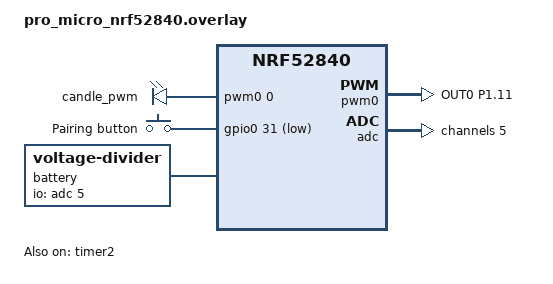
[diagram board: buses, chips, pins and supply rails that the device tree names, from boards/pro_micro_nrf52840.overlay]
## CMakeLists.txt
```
# 2026-04-21 - LED candle Zigbee project by Claude
cmake_minimum_required(VERSION 3.20.0)
find_package(Zephyr REQUIRED HINTS $ENV{ZEPHYR_BASE})
project(led_candle)

target_sources(app PRIVATE src/main.c)
target_include_directories(app PRIVATE include)
```

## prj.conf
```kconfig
# 2026-04-22 - LED candle Zigbee SED config by Claude (updated flash offset for Adafruit UF2 bootloader)
# 2026-04-22 - Disabled deep sleep (PM) to preserve UF2 bootloader double-tap detection (Claude)
CONFIG_NCS_SAMPLES_DEFAULTS=y

CONFIG_SERIAL=y
CONFIG_UART_INTERRUPT_DRIVEN=y
CONFIG_GPIO=y
CONFIG_PWM=y
CONFIG_ADC=y

CONFIG_CONSOLE=y
CONFIG_UART_CONSOLE=y
CONFIG_LOG=y
CONFIG_LOG_DEFAULT_LEVEL=3

CONFIG_HEAP_MEM_POOL_SIZE=2048
CONFIG_MAIN_THREAD_PRIORITY=7

# Zigbee as Sleepy End Device (not router - saves power)
CONFIG_ZIGBEE=y
CONFIG_ZIGBEE_APP_UTILS=y
CONFIG_ZIGBEE_ROLE_END_DEVICE=y
CONFIG_ZIGBEE_CHANNEL=25

CONFIG_SYSTEM_WORKQUEUE_STACK_SIZE=2048

CONFIG_CRYPTO=y
CONFIG_CRYPTO_NRF_ECB=y
CONFIG_CRYPTO_INIT_PRIORITY=80

CONFIG_NET_IPV6=n
CONFIG_NET_IP_ADDR_CHECK=n
CONFIG_NET_UDP=n

CONFIG_ZIGBEE_SCENES=y

# Random number generator for flicker
CONFIG_ENTROPY_GENERATOR=y

# Flash directly at 0x0 (no bootloader - ST-Link programming)
CONFIG_FLASH_LOAD_OFFSET=0x0
CONFIG_FLASH_LOAD_SIZE=0x100000
```

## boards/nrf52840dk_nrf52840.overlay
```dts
/* 2026-04-21 - Custom pin mapping for LED candle by Claude
 * Candle LED: P1.13 (GPIO 1.13) via PWM0 ch0
 * Pairing button: P0.31 (GPIO 0.31), active low with pull-up
 */

/ {
	pwmleds {
		compatible = "pwm-leds";
		candle_pwm: candle_pwm {
			pwms = <&pwm0 0 PWM_USEC(10000) PWM_POLARITY_NORMAL>;
		};
	};

	buttons {
		compatible = "gpio-keys";
		pairing_button: pairing_button {
			gpios = <&gpio0 31 (GPIO_PULL_UP | GPIO_ACTIVE_LOW)>;
			label = "Pairing button";
		};
	};

	chosen {
		ncs,zigbee-timer = &timer2;
	};
};

&pwm0 {
	status = "okay";
	pinctrl-0 = <&pwm0_candle_default>;
	pinctrl-1 = <&pwm0_candle_sleep>;
	pinctrl-names = "default", "sleep";
};

&pinctrl {
	pwm0_candle_default: pwm0_candle_default {
		group1 {
			psels = <NRF_PSEL(PWM_OUT0, 1, 13)>;
		};
	};
	pwm0_candle_sleep: pwm0_candle_sleep {
		group1 {
			psels = <NRF_PSEL(PWM_OUT0, 1, 13)>;
			low-power-enable;
		};
	};
};

&timer2 {
	status = "okay";
};
```

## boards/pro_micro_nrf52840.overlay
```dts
/* 2026-04-22 - Custom pin mapping for LED candle by Claude
 * 2026-04-26 - Added battery ADC on P0.29 (AIN5) with 2M+1M divider (Claude)
 * Candle LED: P1.11 (GPIO 1.11) via PWM0 ch0 - confirmed working
 * Pairing button: P0.31 (GPIO 0.31), active low with pull-up
 */

#include <zephyr/dt-bindings/adc/nrf-adc.h>

/ {
	pwmleds {
		compatible = "pwm-leds";
		candle_pwm: candle_pwm {
			pwms = <&pwm0 0 PWM_USEC(10000) PWM_POLARITY_INVERTED>;
		};
	};

	buttons {
		compatible = "gpio-keys";
		pairing_button: pairing_button {
			gpios = <&gpio0 31 (GPIO_PULL_UP | GPIO_ACTIVE_LOW)>;
			label = "Pairing button";
		};
	};

	chosen {
		ncs,zigbee-timer = &timer2;
	};

	/* Battery voltage divider: 2M upper + 1M lower, P0.29 (AIN5) */
	battery: battery {
		compatible = "voltage-divider";
		io-channels = <&adc 5>;
		output-ohms = <1000000>;
		full-ohms = <3000000>;
	};
};

&pwm0 {
	status = "okay";
	pinctrl-0 = <&pwm0_candle_default>;
	pinctrl-1 = <&pwm0_candle_sleep>;
	pinctrl-names = "default", "sleep";
};

&pinctrl {
	pwm0_candle_default: pwm0_candle_default {
		group1 {
			psels = <NRF_PSEL(PWM_OUT0, 1, 11)>;
		};
	};
	pwm0_candle_sleep: pwm0_candle_sleep {
		group1 {
			psels = <NRF_PSEL(PWM_OUT0, 1, 11)>;
			low-power-enable;
		};
	};
};

&timer2 {
	status = "okay";
};

/* Battery voltage on P0.29 (AIN5), 2M+1M resistor divider */
&adc {
	status = "okay";
	#address-cells = <1>;
	#size-cells = <0>;

	channel@5 {
		reg = <5>;
		zephyr,gain = "ADC_GAIN_1_6";
		zephyr,reference = "ADC_REF_INTERNAL";
		zephyr,acquisition-time = <ADC_ACQ_TIME_DEFAULT>;
		zephyr,input-positive = <NRF_SAADC_AIN5>;
		zephyr,resolution = <12>;
	};
};
```

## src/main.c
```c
/* 2026-04-22 - Zigbee LED candle, Sleepy End Device by Claude
 * 2026-04-22 - Button now triggers network steering when not joined (Claude)
 * 2026-04-26 - Added battery measurement via SAADC on P0.29 (AIN5), Power Config cluster (Claude)
 * GPIO 1.11: candle LED (PWM0 ch0)
 * GPIO 0.31: pairing/identify button (active low)
 * GPIO 0.29: battery voltage via resistor divider (2M+1M, AIN5)
 * Short press: enter identify/pairing mode
 * Hold 5s: factory reset
 * LED blinks 2Hz until joined to Zigbee network, then switches to flicker.
 * Reports as ZHA dimmable light with battery level - auto-discovered by Home Assistant
 */

#include <zephyr/types.h>
#include <zephyr/kernel.h>
#include <zephyr/device.h>
#include <zephyr/drivers/pwm.h>
#include <zephyr/drivers/gpio.h>
#include <zephyr/drivers/adc.h>
#include <zephyr/logging/log.h>
#include <zephyr/settings/settings.h>
#include <zephyr/random/random.h>

#include <zboss_api.h>
#include <zboss_api_addons.h>
#include <zb_mem_config_med.h>
#include <zigbee/zigbee_app_utils.h>
#include <zigbee/zigbee_error_handler.h>
#include <zigbee/zigbee_zcl_scenes.h>
#include <zb_nrf_platform.h>
#include "zb_candle.h"

LOG_MODULE_REGISTER(app, LOG_LEVEL_INF);

#define CANDLE_ENDPOINT         10
#define BATTERY_MEASURE_MS      300000  /* measure every 5 minutes */
#define BATTERY_MV_FULL         4200    /* LiPo full charge */
#define BATTERY_MV_EMPTY        3000    /* LiPo cutoff */

#define PWM_PERIOD_US           10000U  /* 100 Hz */
#define FLICKER_INTERVAL_MS     50      /* flicker update rate */
#define FACTORY_RESET_MS        5000    /* hold button this long to reset */

#define MANUF_NAME      "DIY"
#define MODEL_ID        "LED_Candle_v1"
#define DATE_CODE       "20260421"
#define LOCATION_DESC   "Home"

#define BULB_INIT_BASIC_APP_VERSION     01
#define BULB_INIT_BASIC_STACK_VERSION   10
#define BULB_INIT_BASIC_HW_VERSION      11
#define BULB_INIT_BASIC_POWER_SOURCE    ZB_ZCL_BASIC_POWER_SOURCE_BATTERY
#define BULB_INIT_BASIC_PH_ENV          ZB_ZCL_BASIC_ENV_UNSPECIFIED

/* Hardware bindings from devicetree */
static const struct pwm_dt_spec led_pwm = PWM_DT_SPEC_GET(DT_NODELABEL(candle_pwm));
static const struct gpio_dt_spec btn = GPIO_DT_SPEC_GET(DT_NODELABEL(pairing_button), gpios);

/* Candle state - written from Zigbee callbacks, read from flicker timer */
static volatile uint8_t candle_base_level = 255;
static volatile bool candle_on = false;
static volatile bool zigbee_joined = false;

/* Flicker state - only accessed in system workqueue */
static uint8_t flicker_current;
static uint8_t flicker_target;

/* Button state */
static int64_t btn_press_uptime_ms;
static struct gpio_callback btn_cb_data;

/* ---------- Zigbee attribute storage ---------- */

typedef struct {
	zb_zcl_basic_attrs_ext_t      basic_attr;
	zb_zcl_identify_attrs_t       identify_attr;
	zb_zcl_scenes_attrs_t         scenes_attr;
	zb_zcl_groups_attrs_t         groups_attr;
	zb_zcl_on_off_attrs_t         on_off_attr;
	zb_zcl_level_control_attrs_t  level_control_attr;
} bulb_device_ctx_t;

/* Battery attributes - plain variables, updated by ADC measurement */
static zb_uint8_t bat_voltage_100mv;   /* voltage in 100mV units */
static zb_uint8_t bat_percentage;      /* 0-200 where 200=100% */

/* ADC for battery voltage on P0.29 (AIN5), resistor divider 2M+1M */
static const struct adc_dt_spec adc_bat = ADC_DT_SPEC_GET(DT_NODELABEL(battery));
static int16_t adc_buf;
static struct adc_sequence adc_seq = {
	.buffer      = &adc_buf,
	.buffer_size = sizeof(adc_buf),
};

static bulb_device_ctx_t dev_ctx;

ZB_ZCL_DECLARE_IDENTIFY_ATTRIB_LIST(identify_attr_list,
	&dev_ctx.identify_attr.identify_time);

ZB_ZCL_DECLARE_GROUPS_ATTRIB_LIST(groups_attr_list,
	&dev_ctx.groups_attr.name_support);

ZB_ZCL_DECLARE_SCENES_ATTRIB_LIST(scenes_attr_list,
	&dev_ctx.scenes_attr.scene_count,
	&dev_ctx.scenes_attr.current_scene,
	&dev_ctx.scenes_attr.current_group,
	&dev_ctx.scenes_attr.scene_valid,
	&dev_ctx.scenes_attr.name_support);

ZB_ZCL_DECLARE_BASIC_ATTRIB_LIST_EXT(basic_attr_list,
	&dev_ctx.basic_attr.zcl_version,
	&dev_ctx.basic_attr.app_version,
	&dev_ctx.basic_attr.stack_version,
	&dev_ctx.basic_attr.hw_version,
	dev_ctx.basic_attr.mf_name,
	dev_ctx.basic_attr.model_id,
	dev_ctx.basic_attr.date_code,
	&dev_ctx.basic_attr.power_source,
	dev_ctx.basic_attr.location_id,
	&dev_ctx.basic_attr.ph_env,
	dev_ctx.basic_attr.sw_ver);

ZB_ZCL_DECLARE_ON_OFF_ATTRIB_LIST(on_off_attr_list,
	&dev_ctx.on_off_attr.on_off);

ZB_ZCL_DECLARE_LEVEL_CONTROL_ATTRIB_LIST(level_control_attr_list,
	&dev_ctx.level_control_attr.current_level,
	&dev_ctx.level_control_attr.remaining_time);

ZB_ZCL_START_DECLARE_ATTRIB_LIST_CLUSTER_REVISION(power_config_attr_list,
						  ZB_ZCL_POWER_CONFIG)
ZB_SET_ATTR_DESCR_WITH_ZB_ZCL_ATTR_POWER_CONFIG_BATTERY_VOLTAGE_ID(
	&bat_voltage_100mv, ),
ZB_SET_ATTR_DESCR_WITH_ZB_ZCL_ATTR_POWER_CONFIG_BATTERY_PERCENTAGE_REMAINING_ID(
	&bat_percentage, ),
ZB_ZCL_FINISH_DECLARE_ATTRIB_LIST;

ZB_DECLARE_CANDLE_CLUSTER_LIST(candle_clusters,
	basic_attr_list, identify_attr_list, groups_attr_list,
	scenes_attr_list, on_off_attr_list, level_control_attr_list,
	power_config_attr_list);

ZB_DECLARE_CANDLE_EP(candle_ep, CANDLE_ENDPOINT, candle_clusters);

ZBOSS_DECLARE_DEVICE_CTX_1_EP(dimmable_light_ctx, candle_ep);

/* ---------- PWM / flicker ---------- */

static void set_pwm_level(uint8_t level)
{
	uint32_t pulse = (uint32_t)level * PWM_PERIOD_US / 255U;

	pwm_set_dt(&led_pwm, PWM_USEC(PWM_PERIOD_US), PWM_USEC(pulse));
}

static void flicker_work_handler(struct k_work *work)
{
	ARG_UNUSED(work);

	if (!candle_on) {
		set_pwm_level(0);
		return;
	}

	uint8_t base = candle_base_level;
	uint32_t rnd = sys_rand32_get();

	/* New target on every tick with 70% probability, or when reached */
	if (flicker_current == flicker_target || (rnd & 0xF) < 11) {
		/* Occasional deep dip (10% chance) simulates gust */
		if ((sys_rand32_get() & 0x1F) == 0) {
			flicker_target = (uint8_t)CLAMP((int32_t)base * 2 / 10,
							8, base);
		} else {
			/* Normal flicker: ±45% of base */
			int32_t offset = (int32_t)(sys_rand32_get() & 0xFF) - 128;
			offset = offset * 9 / 10 * base / 255;
			flicker_target = (uint8_t)CLAMP((int32_t)base + offset,
							base * 3 / 10, base);
		}
	}

	/* Fast drop, slower rise — like a real flame */
	if (flicker_current > flicker_target) {
		flicker_current -= MAX(2, (flicker_current - flicker_target) >> 1);
	} else if (flicker_current < flicker_target) {
		flicker_current += MAX(1, (flicker_target - flicker_current) >> 2);
	}

	set_pwm_level(flicker_current);
}

static K_WORK_DEFINE(flicker_work, flicker_work_handler);

static void flicker_timer_cb(struct k_timer *timer)
{
	ARG_UNUSED(timer);
	k_work_submit(&flicker_work);
}

static K_TIMER_DEFINE(flicker_timer, flicker_timer_cb, NULL);

/* ---------- Pairing blink (runs until Zigbee joins) ---------- */

static void pairing_blink_cb(struct k_timer *timer)
{
	ARG_UNUSED(timer);
	static bool state;

	state = !state;
	set_pwm_level(state ? 255U : 0U);
}

static K_TIMER_DEFINE(pairing_blink_timer, pairing_blink_cb, NULL);

/* ---------- Battery measurement ---------- */

static void battery_measure(void)
{
	adc_sequence_init_dt(&adc_bat, &adc_seq);
	if (adc_read(adc_bat.dev, &adc_seq) != 0) {
		return;
	}

	int32_t mv = adc_buf;

	adc_raw_to_millivolts_dt(&adc_bat, &mv);

	/* Undo divider: V_bat = V_adc * (2M+1M)/1M = V_adc * 3 */
	int32_t bat_mv = mv * 3;

	bat_voltage_100mv = (zb_uint8_t)CLAMP(bat_mv / 100, 0, 255);

	int32_t pct = (bat_mv - BATTERY_MV_EMPTY) * 200 /
		      (BATTERY_MV_FULL - BATTERY_MV_EMPTY);

	bat_percentage = (zb_uint8_t)CLAMP(pct, 0, 200);

	ZB_ZCL_SET_ATTRIBUTE(CANDLE_ENDPOINT,
		ZB_ZCL_CLUSTER_ID_POWER_CONFIG,
		ZB_ZCL_CLUSTER_SERVER_ROLE,
		ZB_ZCL_ATTR_POWER_CONFIG_BATTERY_VOLTAGE_ID,
		&bat_voltage_100mv, ZB_FALSE);

	ZB_ZCL_SET_ATTRIBUTE(CANDLE_ENDPOINT,
		ZB_ZCL_CLUSTER_ID_POWER_CONFIG,
		ZB_ZCL_CLUSTER_SERVER_ROLE,
		ZB_ZCL_ATTR_POWER_CONFIG_BATTERY_PERCENTAGE_REMAINING_ID,
		&bat_percentage, ZB_FALSE);

	LOG_INF("battery: %d mV -> %d%%", bat_mv, bat_percentage / 2);
}

static struct k_work battery_work;

static void battery_work_handler(struct k_work *work)
{
	ARG_UNUSED(work);
	battery_measure();
}

static void battery_timer_cb(struct k_timer *timer)
{
	ARG_UNUSED(timer);
	k_work_submit(&battery_work);
}

static K_TIMER_DEFINE(battery_timer, battery_timer_cb, NULL);

static void on_joined(void)
{
	if (zigbee_joined) {
		return;
	}
	zigbee_joined = true;
	k_timer_stop(&pairing_blink_timer);

	/* Restore candle state and start flicker */
	candle_on = (bool)dev_ctx.on_off_attr.on_off;
	candle_base_level = dev_ctx.level_control_attr.current_level;
	flicker_current = candle_base_level;
	flicker_target  = candle_base_level;
	k_timer_start(&flicker_timer, K_MSEC(FLICKER_INTERVAL_MS),
		      K_MSEC(FLICKER_INTERVAL_MS));
	zb_ieee_addr_t ieee;
	zb_get_long_address(ieee);
	LOG_INF("joined network, NWK: 0x%04x IEEE: %02x:%02x:%02x:%02x:%02x:%02x:%02x:%02x",
		zb_get_short_address(),
		ieee[7], ieee[6], ieee[5], ieee[4],
		ieee[3], ieee[2], ieee[1], ieee[0]);
	LOG_INF("joined network, flicker started");
}

/* ---------- Zigbee level/on-off control ---------- */

static void light_set_brightness(zb_uint8_t level)
{
	candle_base_level = level;
	/* Flicker timer applies it on next tick */
}

static void level_control_set_value(zb_uint16_t new_level)
{
	LOG_INF("level -> %d", new_level);
	ZB_ZCL_SET_ATTRIBUTE(CANDLE_ENDPOINT,
		ZB_ZCL_CLUSTER_ID_LEVEL_CONTROL,
		ZB_ZCL_CLUSTER_SERVER_ROLE,
		ZB_ZCL_ATTR_LEVEL_CONTROL_CURRENT_LEVEL_ID,
		(zb_uint8_t *)&new_level, ZB_FALSE);
	light_set_brightness((zb_uint8_t)new_level);
}

static void on_off_set_value(zb_bool_t on)
{
	LOG_INF("on/off -> %d", on);
	ZB_ZCL_SET_ATTRIBUTE(CANDLE_ENDPOINT,
		ZB_ZCL_CLUSTER_ID_ON_OFF,
		ZB_ZCL_CLUSTER_SERVER_ROLE,
		ZB_ZCL_ATTR_ON_OFF_ON_OFF_ID,
		(zb_uint8_t *)&on, ZB_FALSE);

	candle_on = (bool)on;
	if (!on) {
		set_pwm_level(0);
	} else {
		light_set_brightness(dev_ctx.level_control_attr.current_level);
	}
}

/* ---------- Zigbee identify ---------- */

static void toggle_identify_led(zb_bufid_t bufid)
{
	static bool blink;

	blink = !blink;
	set_pwm_level(blink ? 255U : 0U);
	ZB_SCHEDULE_APP_ALARM(toggle_identify_led, bufid,
		ZB_MILLISECONDS_TO_BEACON_INTERVAL(200));
}

static void identify_cb(zb_bufid_t bufid)
{
	if (bufid) {
		ZB_SCHEDULE_APP_CALLBACK(toggle_identify_led, bufid);
	} else {
		zb_ret_t err = ZB_SCHEDULE_APP_ALARM_CANCEL(
			toggle_identify_led, ZB_ALARM_ANY_PARAM);
		ZVUNUSED(err);
		on_off_set_value((zb_bool_t)dev_ctx.on_off_attr.on_off);
	}
}

static void start_identifying(zb_bufid_t bufid)
{
	ZVUNUSED(bufid);
	if (!ZB_JOINED()) {
		LOG_WRN("not joined - cannot identify");
		return;
	}
	ZB_ERROR_CHECK(zb_bdb_finding_binding_target(CANDLE_ENDPOINT));
	LOG_INF("identify mode started");
}

/* ---------- Button ---------- */

static void btn_isr(const struct device *port, struct gpio_callback *cb,
		    gpio_port_pins_t pins)
{
	ARG_UNUSED(port);
	ARG_UNUSED(cb);
	ARG_UNUSED(pins);

	bool pressed = gpio_pin_get_dt(&btn);

	if (pressed) {
		btn_press_uptime_ms = k_uptime_get();
	} else {
		int64_t held_ms = k_uptime_get() - btn_press_uptime_ms;

		if (held_ms >= FACTORY_RESET_MS) {
			ZB_SCHEDULE_APP_CALLBACK(zb_bdb_reset_via_local_action, 0);
			LOG_INF("factory reset triggered");
		} else if (held_ms >= 50) {
			if (!ZB_JOINED()) {
				/* Clear credentials and reboot into fresh pairing */
				ZB_SCHEDULE_APP_CALLBACK(zb_bdb_reset_via_local_action, 0);
				LOG_INF("credentials cleared, repairing");
			} else {
				ZB_SCHEDULE_APP_CALLBACK(start_identifying, 0);
			}
		}
	}
}

/* ---------- ZCL callback ---------- */

static void zcl_device_cb(zb_bufid_t bufid)
{
	zb_zcl_device_callback_param_t *p =
		ZB_BUF_GET_PARAM(bufid, zb_zcl_device_callback_param_t);

	p->status = RET_OK;

	switch (p->device_cb_id) {
	case ZB_ZCL_LEVEL_CONTROL_SET_VALUE_CB_ID:
		level_control_set_value(
			p->cb_param.level_control_set_value_param.new_value);
		break;

	case ZB_ZCL_SET_ATTR_VALUE_CB_ID: {
		uint8_t cluster = p->cb_param.set_attr_value_param.cluster_id;
		uint8_t attr    = p->cb_param.set_attr_value_param.attr_id;

		if (cluster == ZB_ZCL_CLUSTER_ID_ON_OFF &&
		    attr == ZB_ZCL_ATTR_ON_OFF_ON_OFF_ID) {
			on_off_set_value((zb_bool_t)
				p->cb_param.set_attr_value_param.values.data8);
		} else if (cluster == ZB_ZCL_CLUSTER_ID_LEVEL_CONTROL &&
			   attr == ZB_ZCL_ATTR_LEVEL_CONTROL_CURRENT_LEVEL_ID) {
			level_control_set_value(
				p->cb_param.set_attr_value_param.values.data16);
		} else {
			p->status = RET_NOT_IMPLEMENTED;
		}
		break;
	}

	default:
		if (zcl_scenes_cb(bufid) == ZB_FALSE) {
			p->status = RET_NOT_IMPLEMENTED;
		}
		break;
	}
}

/* ---------- Zigbee signal handler ---------- */

void zboss_signal_handler(zb_bufid_t bufid)
{
	zb_zdo_app_signal_hdr_t *hdr = NULL;
	zb_zdo_app_signal_type_t sig = zb_get_app_signal(bufid, &hdr);
	zb_ret_t status = ZB_GET_APP_SIGNAL_STATUS(bufid);

	switch (sig) {
	case ZB_BDB_SIGNAL_DEVICE_REBOOT:
	case ZB_BDB_SIGNAL_STEERING:
		if (status == RET_OK) {
			on_joined();
		}
		break;
	default:
		break;
	}

	ZB_ERROR_CHECK(zigbee_default_signal_handler(bufid));
	if (bufid) {
		zb_buf_free(bufid);
	}
}

/* ---------- Attribute init ---------- */

static void clusters_attr_init(void)
{
	dev_ctx.basic_attr.zcl_version   = ZB_ZCL_VERSION;
	dev_ctx.basic_attr.app_version   = BULB_INIT_BASIC_APP_VERSION;
	dev_ctx.basic_attr.stack_version = BULB_INIT_BASIC_STACK_VERSION;
	dev_ctx.basic_attr.hw_version    = BULB_INIT_BASIC_HW_VERSION;
	dev_ctx.basic_attr.power_source  = BULB_INIT_BASIC_POWER_SOURCE;
	dev_ctx.basic_attr.ph_env        = BULB_INIT_BASIC_PH_ENV;

	ZB_ZCL_SET_STRING_VAL(dev_ctx.basic_attr.mf_name,
		MANUF_NAME, ZB_ZCL_STRING_CONST_SIZE(MANUF_NAME));
	ZB_ZCL_SET_STRING_VAL(dev_ctx.basic_attr.model_id,
		MODEL_ID, ZB_ZCL_STRING_CONST_SIZE(MODEL_ID));
	ZB_ZCL_SET_STRING_VAL(dev_ctx.basic_attr.date_code,
		DATE_CODE, ZB_ZCL_STRING_CONST_SIZE(DATE_CODE));
	ZB_ZCL_SET_STRING_VAL(dev_ctx.basic_attr.location_id,
		LOCATION_DESC, ZB_ZCL_STRING_CONST_SIZE(LOCATION_DESC));

	dev_ctx.identify_attr.identify_time =
		ZB_ZCL_IDENTIFY_IDENTIFY_TIME_DEFAULT_VALUE;

	dev_ctx.on_off_attr.on_off = (zb_bool_t)ZB_ZCL_ON_OFF_IS_ON;
	dev_ctx.level_control_attr.current_level =
		ZB_ZCL_LEVEL_CONTROL_LEVEL_MAX_VALUE;
	dev_ctx.level_control_attr.remaining_time =
		ZB_ZCL_LEVEL_CONTROL_REMAINING_TIME_DEFAULT_VALUE;

	ZB_ZCL_SET_ATTRIBUTE(CANDLE_ENDPOINT,
		ZB_ZCL_CLUSTER_ID_ON_OFF, ZB_ZCL_CLUSTER_SERVER_ROLE,
		ZB_ZCL_ATTR_ON_OFF_ON_OFF_ID,
		(zb_uint8_t *)&dev_ctx.on_off_attr.on_off, ZB_FALSE);

	ZB_ZCL_SET_ATTRIBUTE(CANDLE_ENDPOINT,
		ZB_ZCL_CLUSTER_ID_LEVEL_CONTROL, ZB_ZCL_CLUSTER_SERVER_ROLE,
		ZB_ZCL_ATTR_LEVEL_CONTROL_CURRENT_LEVEL_ID,
		(zb_uint8_t *)&dev_ctx.level_control_attr.current_level,
		ZB_FALSE);
}

/* ---------- main ---------- */

int main(void)
{
	printk("\r\n\r\n*** LED Candle starting ***\r\n");
	LOG_INF("LED candle starting");

	/* PWM init */
	if (!device_is_ready(led_pwm.dev)) {
		LOG_ERR("PWM device not ready");
		return -1;
	}
	set_pwm_level(0);

	/* Button init */
	if (!device_is_ready(btn.port)) {
		LOG_ERR("Button GPIO not ready");
		return -1;
	}
	gpio_pin_configure_dt(&btn, GPIO_INPUT);
	gpio_pin_interrupt_configure_dt(&btn, GPIO_INT_EDGE_BOTH);
	gpio_init_callback(&btn_cb_data, btn_isr, BIT(btn.pin));
	gpio_add_callback(btn.port, &btn_cb_data);

	/* Settings */
	int err = settings_subsys_init();
	if (err) {
		LOG_ERR("settings init failed: %d", err);
	}

	/* ADC init */
	k_work_init(&battery_work, battery_work_handler);
	if (adc_channel_setup_dt(&adc_bat) != 0) {
		LOG_ERR("ADC setup failed");
	}

	/* Zigbee */
	ZB_ZCL_REGISTER_DEVICE_CB(zcl_device_cb);
	ZB_AF_REGISTER_DEVICE_CTX(&dimmable_light_ctx);
	clusters_attr_init();

	ZB_AF_SET_IDENTIFY_NOTIFICATION_HANDLER(CANDLE_ENDPOINT, identify_cb);
	zcl_scenes_init();

	err = settings_load();
	if (err) {
		LOG_ERR("settings load failed: %d", err);
	}

	/* Delay before enabling Zigbee/sleep so bootloader double-tap RST still works */
	k_msleep(2000);

	zigbee_configure_sleepy_behavior(true);
	zigbee_enable();

	/* Initial battery reading + periodic measurement every 5 minutes */
	battery_measure();
	k_timer_start(&battery_timer, K_MSEC(BATTERY_MEASURE_MS),
		      K_MSEC(BATTERY_MEASURE_MS));

	/* Blink at 2Hz until we join a network */
	k_timer_start(&pairing_blink_timer, K_MSEC(250), K_MSEC(250));

	LOG_INF("LED candle ready - waiting for Zigbee network");

	/* Nothing left for main - Zigbee runs in its own thread */
	return 0;
}
```

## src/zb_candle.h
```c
/* 2026-04-26 - Candle Zigbee device descriptor with Power Config cluster (Claude)
 * Extends zb_dimmable_light.h to add battery reporting via Power Config cluster.
 */

#ifndef ZB_CANDLE_H
#define ZB_CANDLE_H

#include "zb_dimmable_light.h"

/* 7 server clusters: Basic, Identify, Scenes, Groups, On/Off, Level, PowerConfig */
#define ZB_CANDLE_IN_CLUSTER_NUM  7
#define ZB_CANDLE_OUT_CLUSTER_NUM 0

#define ZB_CANDLE_REPORT_ATTR_COUNT \
	(ZB_ZCL_ON_OFF_REPORT_ATTR_COUNT + ZB_ZCL_LEVEL_CONTROL_REPORT_ATTR_COUNT)

#define ZB_CANDLE_CVC_ATTR_COUNT 1

#define ZB_DECLARE_CANDLE_CLUSTER_LIST(					\
	cluster_list_name,						\
	basic_attr_list,						\
	identify_attr_list,						\
	groups_attr_list,						\
	scenes_attr_list,						\
	on_off_attr_list,						\
	level_control_attr_list,					\
	power_config_attr_list)						\
	zb_zcl_cluster_desc_t cluster_list_name[] =			\
	{								\
		ZB_ZCL_CLUSTER_DESC(					\
			ZB_ZCL_CLUSTER_ID_IDENTIFY,			\
			ZB_ZCL_ARRAY_SIZE(identify_attr_list, zb_zcl_attr_t), \
			(identify_attr_list),				\
			ZB_ZCL_CLUSTER_SERVER_ROLE,			\
			ZB_ZCL_MANUF_CODE_INVALID			\
		),							\
		ZB_ZCL_CLUSTER_DESC(					\
			ZB_ZCL_CLUSTER_ID_BASIC,			\
			ZB_ZCL_ARRAY_SIZE(basic_attr_list, zb_zcl_attr_t), \
			(basic_attr_list),				\
			ZB_ZCL_CLUSTER_SERVER_ROLE,			\
			ZB_ZCL_MANUF_CODE_INVALID			\
		),							\
		ZB_ZCL_CLUSTER_DESC(					\
			ZB_ZCL_CLUSTER_ID_SCENES,			\
			ZB_ZCL_ARRAY_SIZE(scenes_attr_list, zb_zcl_attr_t), \
			(scenes_attr_list),				\
			ZB_ZCL_CLUSTER_SERVER_ROLE,			\
			ZB_ZCL_MANUF_CODE_INVALID			\
		),							\
		ZB_ZCL_CLUSTER_DESC(					\
			ZB_ZCL_CLUSTER_ID_GROUPS,			\
			ZB_ZCL_ARRAY_SIZE(groups_attr_list, zb_zcl_attr_t), \
			(groups_attr_list),				\
			ZB_ZCL_CLUSTER_SERVER_ROLE,			\
			ZB_ZCL_MANUF_CODE_INVALID			\
		),							\
		ZB_ZCL_CLUSTER_DESC(					\
			ZB_ZCL_CLUSTER_ID_ON_OFF,			\
			ZB_ZCL_ARRAY_SIZE(on_off_attr_list, zb_zcl_attr_t), \
			(on_off_attr_list),				\
			ZB_ZCL_CLUSTER_SERVER_ROLE,			\
			ZB_ZCL_MANUF_CODE_INVALID			\
		),							\
		ZB_ZCL_CLUSTER_DESC(					\
			ZB_ZCL_CLUSTER_ID_LEVEL_CONTROL,		\
			ZB_ZCL_ARRAY_SIZE(level_control_attr_list, zb_zcl_attr_t), \
			(level_control_attr_list),			\
			ZB_ZCL_CLUSTER_SERVER_ROLE,			\
			ZB_ZCL_MANUF_CODE_INVALID			\
		),							\
		ZB_ZCL_CLUSTER_DESC(					\
			ZB_ZCL_CLUSTER_ID_POWER_CONFIG,			\
			ZB_ZCL_ARRAY_SIZE(power_config_attr_list, zb_zcl_attr_t), \
			(power_config_attr_list),			\
			ZB_ZCL_CLUSTER_SERVER_ROLE,			\
			ZB_ZCL_MANUF_CODE_INVALID			\
		)							\
	}

/* Pass cluster counts as parameters (like zb_dimmable_light.h) so token pasting
 * in ZB_DECLARE_SIMPLE_DESC/ZB_AF_SIMPLE_DESC_TYPE receives literal integers. */
#define ZB_ZCL_DECLARE_CANDLE_SIMPLE_DESC(ep_name, ep_id, in_clust_num, out_clust_num) \
	ZB_DECLARE_SIMPLE_DESC(in_clust_num, out_clust_num);		\
	ZB_AF_SIMPLE_DESC_TYPE(in_clust_num, out_clust_num)		\
	simple_desc_##ep_name = {					\
		ep_id,							\
		ZB_AF_HA_PROFILE_ID,					\
		ZB_DIMMABLE_LIGHT_DEVICE_ID,				\
		ZB_DEVICE_VER_DIMMABLE_LIGHT,				\
		0,							\
		in_clust_num,						\
		out_clust_num,						\
		{							\
			ZB_ZCL_CLUSTER_ID_BASIC,			\
			ZB_ZCL_CLUSTER_ID_IDENTIFY,			\
			ZB_ZCL_CLUSTER_ID_SCENES,			\
			ZB_ZCL_CLUSTER_ID_GROUPS,			\
			ZB_ZCL_CLUSTER_ID_ON_OFF,			\
			ZB_ZCL_CLUSTER_ID_LEVEL_CONTROL,		\
			ZB_ZCL_CLUSTER_ID_POWER_CONFIG,			\
		}							\
	}

#define ZB_DECLARE_CANDLE_EP(ep_name, ep_id, cluster_list)		\
	ZB_ZCL_DECLARE_CANDLE_SIMPLE_DESC(ep_name, ep_id,		\
		ZB_CANDLE_IN_CLUSTER_NUM,				\
		ZB_CANDLE_OUT_CLUSTER_NUM);				\
	ZBOSS_DEVICE_DECLARE_REPORTING_CTX(reporting_info##ep_name,	\
		ZB_CANDLE_REPORT_ATTR_COUNT);				\
	ZBOSS_DEVICE_DECLARE_LEVEL_CONTROL_CTX(cvc_alarm_info##ep_name,	\
		ZB_CANDLE_CVC_ATTR_COUNT);				\
	ZB_AF_DECLARE_ENDPOINT_DESC(ep_name, ep_id,			\
		ZB_AF_HA_PROFILE_ID, 0, NULL,				\
		ZB_ZCL_ARRAY_SIZE(cluster_list, zb_zcl_cluster_desc_t),	\
		cluster_list,						\
		(zb_af_simple_desc_1_1_t *)&simple_desc_##ep_name,	\
		ZB_CANDLE_REPORT_ATTR_COUNT,				\
		reporting_info##ep_name,				\
		ZB_CANDLE_CVC_ATTR_COUNT,				\
		cvc_alarm_info##ep_name)

#endif /* ZB_CANDLE_H */
```
